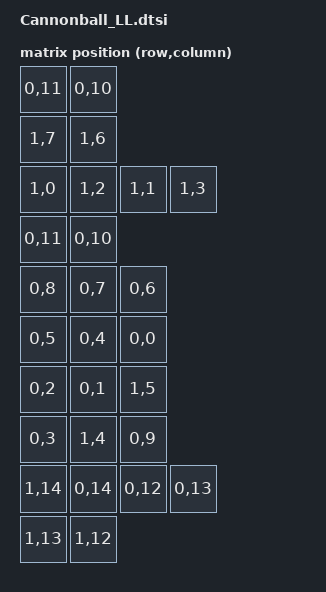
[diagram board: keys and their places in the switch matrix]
#include <dt-bindings/zmk/matrix_transform.h>
#include <physical_layouts.dtsi>

/ {
    chosen {
        zmk,physical-layout = &cannonball_physical_layout;
    };

    cannonball_physical_layout: cannonball_physical_layout {
        compatible = "zmk,physical-layout";
        display-name = "Default";
        kscan = <&kscan0>;
        transform = <&default_transform>;

        keys  //                     w   h    x    y     rot    rx    ry
            = <&key_physical_attrs 100 100    0    0       0     0     0> // Cover L
            , <&key_physical_attrs 100 100  500    0       0     0     0> // Cover R
            , <&key_physical_attrs 100 100   50   50       0     0     0> // Lever L1
            , <&key_physical_attrs 100 100  500   50       0     0     0> // Lever R1
            , <&key_physical_attrs 100 100    0  150       0     0     0> // Lever L2
            , <&key_physical_attrs 100 100  550  150       0     0     0> // Lever R2
            , <&key_physical_attrs 100 100  175  200       0     0     0> // Stick L
            , <&key_physical_attrs 100 100  375  200       0     0     0> // Stick R
            , <&key_physical_attrs 100 100  275  100       0     0     0> // Stick Up/Down
            , <&key_physical_attrs 100 100  275  300       0     0     0> // Stick Left/Right
            , <&key_physical_attrs 100 100  150  325       0     0     0> // Mouse L
            , <&key_physical_attrs 100 100  400  325       0     0     0> // Mouse R
            , <&key_physical_attrs 100 100  175  450       0     0     0> // Key 1,1
            , <&key_physical_attrs 100 100  275  450       0     0     0> // Key 1,2
            , <&key_physical_attrs 100 100  375  450       0     0     0> // Key 1,3
            , <&key_physical_attrs 100 100  175  550       0     0     0> // Key 2,1
            , <&key_physical_attrs 100 100  275  550       0     0     0> // Key 2,2
            , <&key_physical_attrs 100 100  375  550       0     0     0> // Key 2,3
            , <&key_physical_attrs 100 100  175  650       0     0     0> // Key 3,1
            , <&key_physical_attrs 100 100  275  650       0     0     0> // Key 3,2
            , <&key_physical_attrs 100 100  375  650       0     0     0> // Key 3,3
            , <&key_physical_attrs 100 100  175  750       0     0     0> // Key 4,1
            , <&key_physical_attrs 100 100  275  750       0     0     0> // Key 4,2
            , <&key_physical_attrs 100 100  375  750       0     0     0> // Key 4,3
            , <&key_physical_attrs 100 100   50  500       0     0     0> // Side L1
            , <&key_physical_attrs 100 100   50  700       0     0     0> // Side L2
            , <&key_physical_attrs 100 100  500  500       0     0     0> // Side R1
            , <&key_physical_attrs 100 100  500  700       0     0     0> // Side R2
            , <&key_physical_attrs 100 100  650  550       0     0     0> // Back 1
            , <&key_physical_attrs 100 100  650  650       0     0     0> // Back 2
        >;
    };

    default_transform: keymap_transform0 {
        compatible = "zmk,matrix-transform";
        rows = <2>;
        columns = <16>;
        map = 
            // Cover buttons
            RC(0,11) RC(0,10)
            // Lever
            RC(1,7) RC(1,6)
            // Stick
            RC(1,0) RC(1,2) RC(1,1) RC(1,3)
            // Mouse buttons
            RC(0,11) RC(0,10)
            // Main keys
            RC(0,8) RC(0,7) RC(0,6)
            RC(0,5) RC(0,4) RC(0,0)
            RC(0,2) RC(0,1) RC(1,5)
            RC(0,3) RC(1,4) RC(0,9)
            // Side buttons
            RC(1,14) RC(0,14) RC(0,12) RC(0,13)
            // Back buttons
            RC(1,13) RC(1,12)
        >;
    };
};
